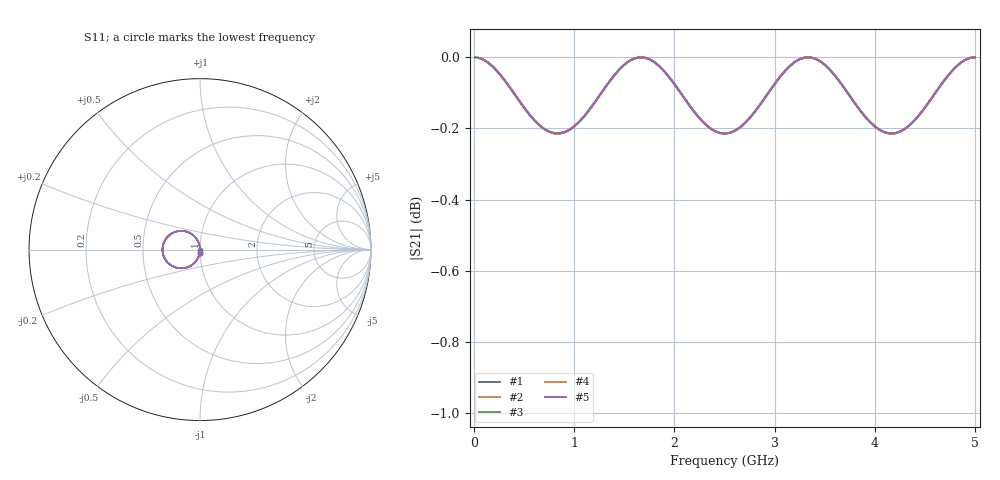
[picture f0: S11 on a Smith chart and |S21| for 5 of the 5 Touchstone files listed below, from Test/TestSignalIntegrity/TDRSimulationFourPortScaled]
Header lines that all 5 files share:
# MHz MA S R 50.0
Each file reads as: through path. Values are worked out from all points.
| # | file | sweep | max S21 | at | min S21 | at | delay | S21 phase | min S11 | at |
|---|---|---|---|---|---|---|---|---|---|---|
| 1 | TestSPARQFourPortScaledTest_testTDRTwoPort_Calc.s2p | 47.17 MHz to 5 GHz | 0.00 dB | 5 GHz | -0.2 dB | 2.5 GHz | 300 ps | 85 deg at 2.547 GHz | -86.4 dB | 5 GHz |
| 2 | TestSPARQFourPortScaledTest_testTDRTwoPortRefined_Calc.s2p | 50 MHz to 5 GHz | 0.00 dB | 5 GHz | -0.2 dB | 2.5 GHz | 300 ps | 85 deg at 2.55 GHz | -79.0 dB | 5 GHz |
| 3 | TestSPARQFourPortScaledTest_testVNATwoPortDiagonalA_Calc.s2p | 10 MHz to 5 GHz | 0.00 dB | 5 GHz | -0.2 dB | 830 MHz | 300 ps | 89 deg at 2.51 GHz | -57.0 dB | 1.67 GHz |
| 4 | TestTDRFourPortScaledTest_testTDRTwoPortRefinedTransferThru_Actual.s2p | 50 MHz to 5 GHz | 0.00 dB | 5 GHz | -0.2 dB | 2.5 GHz | 300 ps | 85 deg at 2.55 GHz | -43.0 dB | 1.65 GHz |
| 5 | TestTDRFourPortScaledTest_testTDRTwoPortRefinedTransferThru_Calc.s2p | 50 MHz to 5 GHz | 0.00 dB | 1.65 GHz | -0.2 dB | 2.5 GHz | 300 ps | 85 deg at 2.55 GHz | -77.9 dB | 5 GHz |
